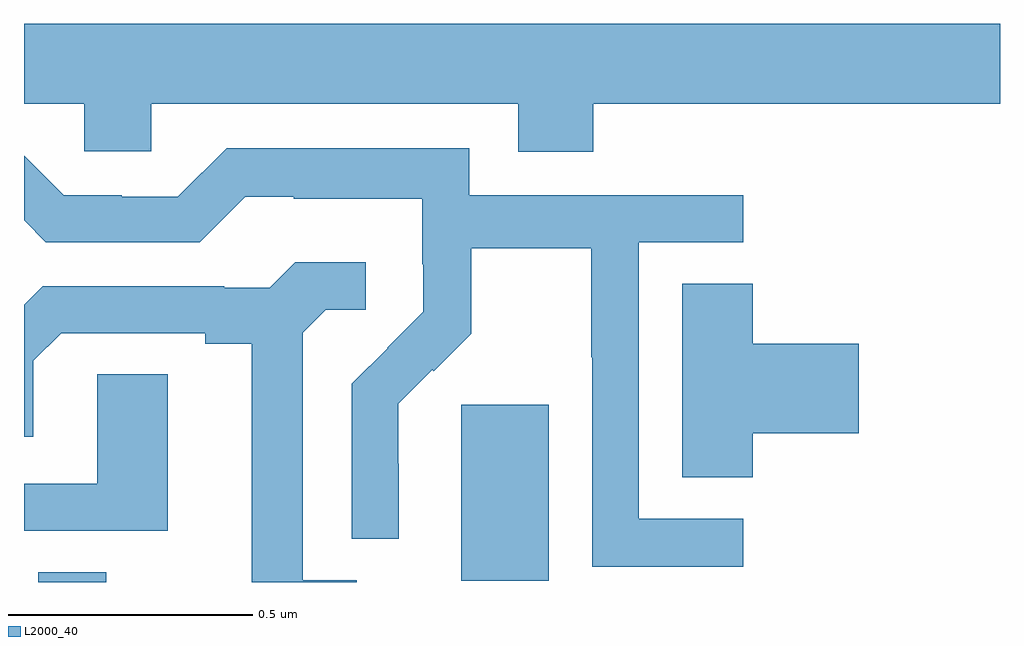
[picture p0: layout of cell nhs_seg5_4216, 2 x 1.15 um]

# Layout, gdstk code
import gdstk
lib = gdstk.Library(unit=1e-6, precision=1e-09)
def R(c, l, rs):  # rectangles x0, y0, x1, y1
    for r in rs: c.add(gdstk.rectangle(r[:2], r[2:], *l))
def P(c, l, *ps):  # polygons
    for p in ps: c.add(gdstk.Polygon(p, *l))
L2000_40 = (2000, 40)

nhs_seg5_4216 = lib.new_cell('nhs_seg5_4216')
R(nhs_seg5_4216, L2000_40, [(168.029,835.799,168.169,835.82), (168.896,835.802,169.075,836.163)])
P(nhs_seg5_4216, L2000_40, [(169.166,836.78),(170,836.78),(170,836.944),(168,836.944),(168,836.78),(168.123,836.78),(168.123,836.682),(168.261,836.682),(168.261,836.78),(169.013,836.78),(169.013,836.681),(169.166,836.681)],
  [(169.474,835.929),(169.26,835.929),(169.26,836.496),(169.474,836.496),(169.474,836.592),(168.912,836.592),(168.912,836.689),(168.415,836.689),(168.315,836.589),(168.2,836.589),(168.2,836.592),(168.081,836.592),(168,836.673),(168,836.541),(168.045,836.496),(168.36,836.496),(168.453,836.589),(168.553,836.589),(168.553,836.585),(168.816,836.585),(168.816,836.451),(168.818,836.451),(168.818,836.354),(168.744,836.28),(168.745,836.279),(168.672,836.206),(168.672,835.888),(168.768,835.888),(168.768,836.042),(168.767,836.042),(168.767,836.165),(168.837,836.235),(168.84,836.232),(168.917,836.309),(168.917,836.484),(169.162,836.484),(169.162,836.26),(169.164,836.26),(169.164,835.831),(169.474,835.831)],
  [(168.682,835.803),(168.571,835.803),(168.571,836.311),(168.618,836.358),(168.7,836.358),(168.7,836.455),(168.556,836.455),(168.504,836.403),(168.41,836.403),(168.41,836.406),(168.038,836.406),(168,836.368),(168,836.097),(168.019,836.097),(168.019,836.253),(168.076,836.31),(168.371,836.31),(168.371,836.288),(168.467,836.288),(168.467,835.799),(168.682,835.799)],
  [(169.493,836.105),(169.711,836.105),(169.711,836.288),(169.493,836.288),(169.493,836.411),(169.349,836.411),(169.349,836.014),(169.493,836.014)],
  [(168.295,836.225),(168.15,836.225),(168.15,836.001),(168,836.001),(168,835.905),(168.295,835.905)])

lib.write_gds('nhs_seg5_4216.gds')
